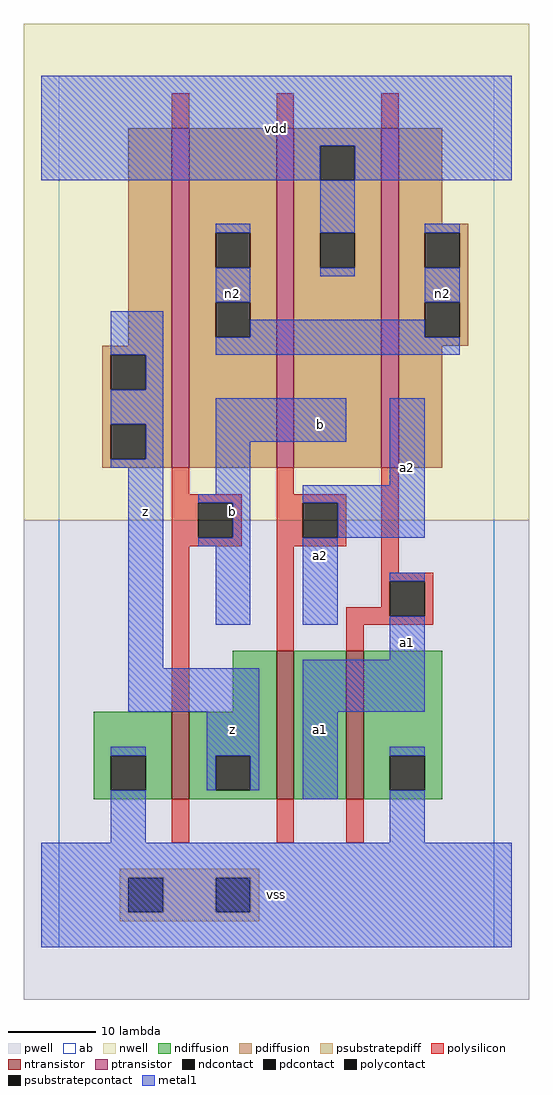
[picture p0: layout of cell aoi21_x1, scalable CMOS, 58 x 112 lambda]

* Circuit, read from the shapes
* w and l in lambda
.subckt aoi21_x1 a1 a2 b n2 vdd vss z
M1 z b vss vss nfet w=10 l=2
M2 n1 a2 z vss nfet w=17 l=2
M3 vss a1 n1 vss nfet w=17 l=2
M4 n2 b z n3 pfet w=39 l=2
M5 vdd a2 n2 n3 pfet w=39 l=2
M6 n2 a1 vdd n3 pfet w=39 l=2
.ends

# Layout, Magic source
magic
tech scmos
<< ab >>
rect 0 0 50 100
<< pwell >>
rect -4 -6 54 49
<< nwell >>
rect -4 49 54 106
<< polysilicon >>
rect 13 94 15 98
rect 25 94 27 98
rect 37 94 39 98
rect 13 52 15 55
rect 25 52 27 55
rect 13 51 21 52
rect 13 47 16 51
rect 20 47 21 51
rect 13 46 21 47
rect 25 51 33 52
rect 25 47 28 51
rect 32 47 33 51
rect 25 46 33 47
rect 13 27 15 46
rect 25 34 27 46
rect 37 43 39 55
rect 37 42 43 43
rect 37 39 38 42
rect 33 38 38 39
rect 42 38 43 42
rect 33 37 43 38
rect 33 34 35 37
rect 13 12 15 17
rect 25 12 27 17
rect 33 12 35 17
<< ndiffusion >>
rect 20 27 25 34
rect 4 22 13 27
rect 4 18 6 22
rect 10 18 13 22
rect 4 17 13 18
rect 15 22 25 27
rect 15 18 18 22
rect 22 18 25 22
rect 15 17 25 18
rect 27 17 33 34
rect 35 22 44 34
rect 35 18 38 22
rect 42 18 44 22
rect 35 17 44 18
<< pdiffusion >>
rect 8 69 13 94
rect 5 68 13 69
rect 5 64 6 68
rect 10 64 13 68
rect 5 60 13 64
rect 5 56 6 60
rect 10 56 13 60
rect 5 55 13 56
rect 15 82 25 94
rect 15 78 18 82
rect 22 78 25 82
rect 15 74 25 78
rect 15 70 18 74
rect 22 70 25 74
rect 15 55 25 70
rect 27 92 37 94
rect 27 88 30 92
rect 34 88 37 92
rect 27 82 37 88
rect 27 78 30 82
rect 34 78 37 82
rect 27 55 37 78
rect 39 83 44 94
rect 39 82 47 83
rect 39 78 42 82
rect 46 78 47 82
rect 39 74 47 78
rect 39 70 42 74
rect 46 70 47 74
rect 39 69 47 70
rect 39 55 44 69
<< metal1 >>
rect -2 92 52 100
rect -2 88 30 92
rect 34 88 52 92
rect 18 82 22 83
rect 18 74 22 78
rect 30 82 34 88
rect 30 77 34 78
rect 42 82 46 83
rect 6 68 12 73
rect 42 74 46 78
rect 22 70 42 72
rect 18 68 46 70
rect 10 64 12 68
rect 6 60 12 64
rect 10 56 12 60
rect 6 55 12 56
rect 8 32 12 55
rect 18 58 33 63
rect 18 52 22 58
rect 38 53 42 63
rect 16 51 22 52
rect 20 47 22 51
rect 16 46 22 47
rect 18 37 22 46
rect 28 51 42 53
rect 32 47 42 51
rect 28 37 32 47
rect 38 42 42 43
rect 38 33 42 38
rect 8 27 23 32
rect 6 22 10 23
rect 17 22 23 27
rect 17 18 18 22
rect 22 18 23 22
rect 28 27 42 33
rect 6 12 10 18
rect 28 17 32 27
rect 38 22 42 23
rect 38 12 42 18
rect -2 0 52 12
<< ntransistor >>
rect 13 17 15 27
rect 25 17 27 34
rect 33 17 35 34
<< ptransistor >>
rect 13 55 15 94
rect 25 55 27 94
rect 37 55 39 94
<< polycontact >>
rect 16 47 20 51
rect 28 47 32 51
rect 38 38 42 42
<< ndcontact >>
rect 6 18 10 22
rect 18 18 22 22
rect 38 18 42 22
<< pdcontact >>
rect 6 64 10 68
rect 6 56 10 60
rect 18 78 22 82
rect 18 70 22 74
rect 30 88 34 92
rect 30 78 34 82
rect 42 78 46 82
rect 42 70 46 74
<< psubstratepcontact >>
rect 8 4 12 8
rect 18 4 22 8
<< psubstratepdiff >>
rect 7 8 23 9
rect 7 4 8 8
rect 12 4 18 8
rect 22 4 23 8
rect 7 3 23 4
<< labels >>
rlabel metal1 20 25 20 25 6 z
rlabel metal1 20 25 20 25 6 z
rlabel metal1 20 50 20 50 6 b
rlabel metal1 20 50 20 50 6 b
rlabel metal1 10 50 10 50 6 z
rlabel metal1 10 50 10 50 6 z
rlabel metal1 20 75 20 75 6 n2
rlabel metal1 25 6 25 6 6 vss
rlabel metal1 25 6 25 6 6 vss
rlabel metal1 30 25 30 25 6 a1
rlabel metal1 30 25 30 25 6 a1
rlabel metal1 30 45 30 45 6 a2
rlabel metal1 30 45 30 45 6 a2
rlabel metal1 30 60 30 60 6 b
rlabel metal1 30 60 30 60 6 b
rlabel metal1 25 94 25 94 6 vdd
rlabel metal1 25 94 25 94 6 vdd
rlabel metal1 40 35 40 35 6 a1
rlabel metal1 40 35 40 35 6 a1
rlabel metal1 40 55 40 55 6 a2
rlabel metal1 40 55 40 55 6 a2
rlabel metal1 44 75 44 75 6 n2
<< end >>
